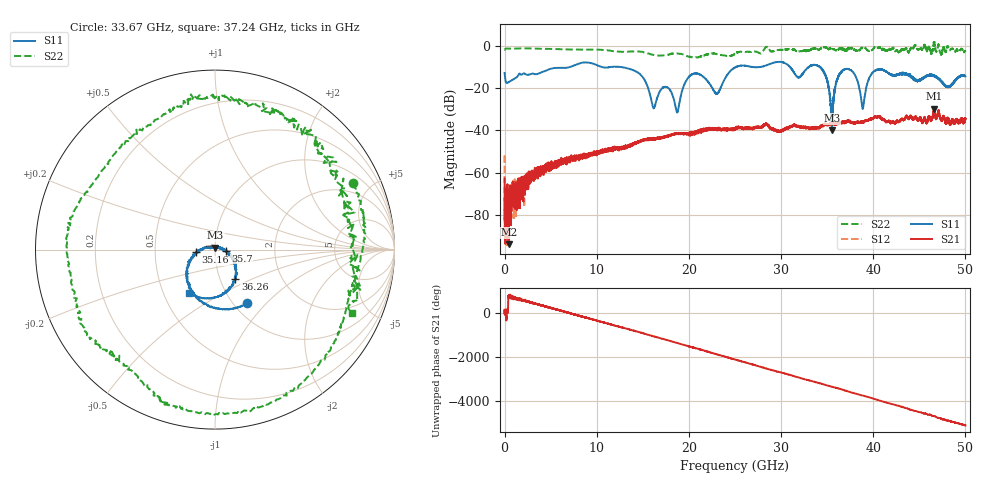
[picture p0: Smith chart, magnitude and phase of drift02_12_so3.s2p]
!Created with skrf (http://scikit-rf.org).
# Hz S RI R 50.0
!freq ReS11 ImS11 ReS21 ImS21 ReS12 ImS12 ReS22 ImS22
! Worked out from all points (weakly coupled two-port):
!   10001 points, 300 kHz to 50 GHz, reference 50 ohm
!   highest |S21| = -29.80 dB at 46.61 GHz (marker M1); lowest = -93.7 dB at 450.3 MHz (marker M2)
!   lowest |S11| = -40.0 dB at 35.53 GHz (marker M3), VSWR 1.02, Z = 50.1 + j0.994 ohm
!   |S11| at or under -10 dB: start of sweep to 7.177 GHz; 12.33 GHz to 25.16 GHz (12.84 GHz wide, 68.5 % of centre); 34.19 GHz to end of sweep (the widest 3 of 17)
!   |S22| runs from -5.7 to 2.4 dB; largest |S21 - S12| = 0.0032
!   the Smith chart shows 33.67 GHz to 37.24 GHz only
!   S11 on the Smith chart (normalised r, x): 33.67 GHz: 1.15, -0.79; 35.16 GHz: 0.81, -0.02; 35.7 GHz: 1.12, -0.01; 36.26 GHz: 1.18, -0.40; 37.24 GHz: 0.68, -0.35
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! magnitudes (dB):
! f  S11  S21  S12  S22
! 300 kHz  -12.9  -62.6  -51.8  -2.1
! 450.3 MHz  -17.2  -93.7  -81.4  -1.5
! 8.335 GHz  -8.2  -52.9  -53.3  -1.9
! 14.01 GHz  -11.7  -46.0  -46.4  -2.8
! 16.14 GHz  -29.4  -43.8  -44.0  -4.5
! 16.67 GHz  -23.2  -43.9  -43.8  -4.8
! 18.74 GHz  -31.4  -41.4  -41.4  -3.7
! 20.24 GHz  -13.9  -41.7  -41.4  -5.4
! 23.03 GHz  -22.7  -39.4  -39.3  -4.1
! 25 GHz  -10.4  -39.4  -39.5  -3.9
! 33.34 GHz  -9.3  -38.4  -38.8  -1.5
! 33.67 GHz  -9.1  -38.9  -38.4  -1.4
! 35.16 GHz  -19.4  -37.2  -37.1  -1.7
! 35.53 GHz  -40.0  -36.8  -36.8  -1.7
! 35.7 GHz  -24.6  -37.1  -36.8  -1.7
! 36.26 GHz  -14.1  -36.7  -36.3  -1.7
! 37.24 GHz  -11.1  -35.4  -35.5  -1.5
! 38.86 GHz  -29.8  -36.2  -36.1  -1.3
! 39.95 GHz  -12.7  -34.6  -34.6  -2.0
! 41.67 GHz  -13.0  -35.4  -35.5  -1.9
! 46.61 GHz  -14.2  -29.8  -30.2  2.4
! 50 GHz  -14.6  -34.4  -34.7  -2.6
